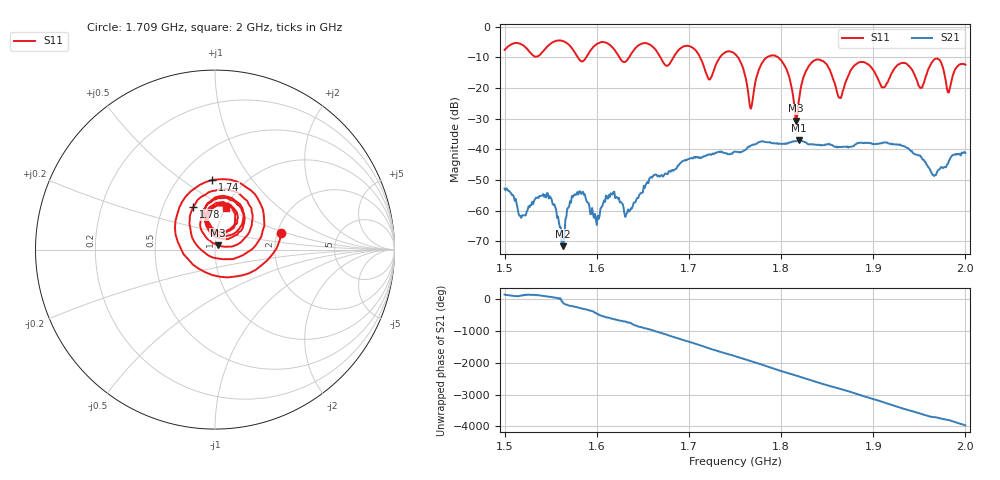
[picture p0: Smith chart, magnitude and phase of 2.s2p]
! NanoVNA-App by SYSJOINT et al v1.1.209 (+OD18)
! Date: 2026-01-21 14:17:22
! Start: 1,5GHz Stop: 2GHz Points: 501
! S-Parameter data: F S11 S21 S12 S22
# Hz S RI R 50
!  Frequency  S11_Real  S11_Imag  S21_Real  S21_Imag  S12_Real  S12_Imag  S22_Real  S22_Imag
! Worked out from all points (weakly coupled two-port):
!   501 points, 1.5 GHz to 2 GHz, reference 50 ohm
!   highest |S21| = -37.08 dB at 1.819 GHz (marker M1); lowest = -71.5 dB at 1.563 GHz (marker M2)
!   lowest |S11| = -30.6 dB at 1.816 GHz (marker M3), VSWR 1.06, Z = 51.6 + j2.57 ohm
!   |S11| at or under -10 dB: 1.712 GHz to 1.734 GHz (21.36 MHz wide, 1.24 % of centre); 1.753 GHz to 1.785 GHz (31.29 MHz wide, 1.77 % of centre); 1.797 GHz to end of sweep (the widest 3 of 6)
!   S12 and S22 are empty: the file has one direction only
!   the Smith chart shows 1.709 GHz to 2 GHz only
!   S11 on the Smith chart (normalised r, x): 1.709 GHz: 2.10, +0.46; 1.74 GHz: 0.72, +0.66; 1.78 GHz: 0.71, +0.36; 2 GHz: 1.01, +0.50
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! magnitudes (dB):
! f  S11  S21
! 1.5 GHz  -7.5  -52.8
! 1.548 GHz  -6.0  -56.0
! 1.563 GHz  -4.6  -71.5
! 1.584 GHz  -11.3  -54.1
! 1.632 GHz  -11.2  -61.2
! 1.667 GHz  -8.9  -48.5
! 1.709 GHz  -8.4  -42.5
! 1.722 GHz  -17.2  -41.6
! 1.74 GHz  -8.2  -41.3
! 1.75 GHz  -8.9  -40.7
! 1.767 GHz  -26.7  -38.8
! 1.78 GHz  -11.5  -37.4
! 1.802 GHz  -11.8  -38.1
! 1.816 GHz  -30.6  -37.3
! 1.819 GHz  -24.6  -37.1
! 1.834 GHz  -11.5  -38.4
! 1.864 GHz  -23.2  -39.2
! 1.885 GHz  -11.6  -37.9
! 1.917 GHz  -17.1  -38.0
! 1.966 GHz  -10.7  -48.6
! 1.982 GHz  -21.4  -43.9
! 2 GHz  -12.4  -41.1
